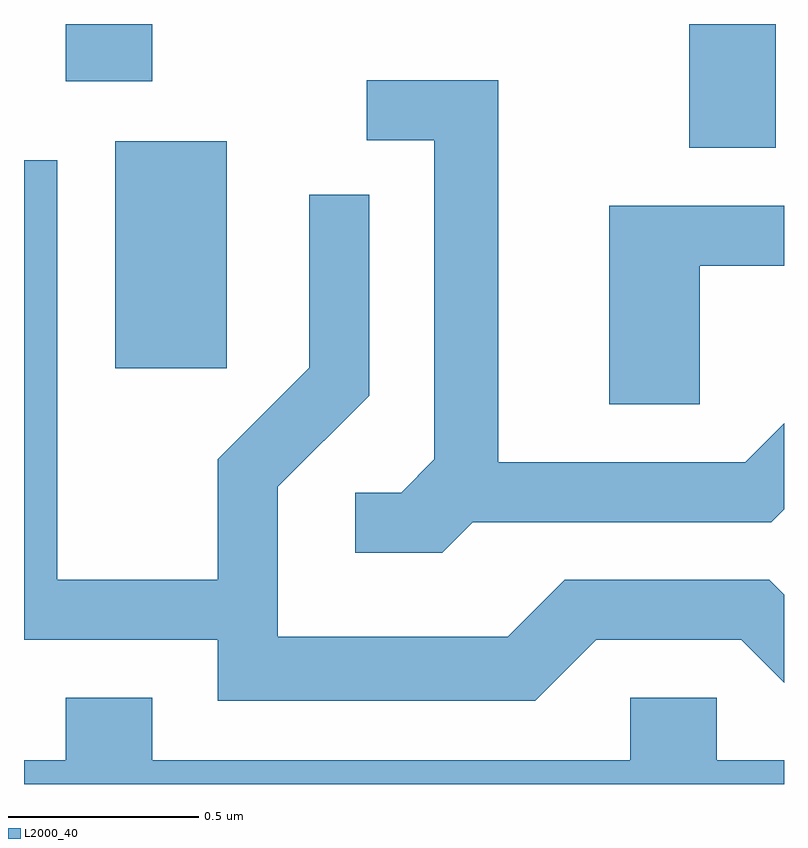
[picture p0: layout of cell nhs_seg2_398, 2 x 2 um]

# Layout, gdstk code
import gdstk
lib = gdstk.Library(unit=1e-6, precision=1e-09)
def R(c, l, rs):  # rectangles x0, y0, x1, y1
    for r in rs: c.add(gdstk.rectangle(r[:2], r[2:], *l))
def P(c, l, *ps):  # polygons
    for p in ps: c.add(gdstk.Polygon(p, *l))
L2000_40 = (2000, 40)

nhs_seg2_398 = lib.new_cell('nhs_seg2_398')
R(nhs_seg2_398, L2000_40, [(187.851,1102.896,188.144,1103.494), (189.361,1103.476,189.589,1103.802), (187.721,1103.651,187.949,1103.802)])
P(nhs_seg2_398, L2000_40, [(188.792,1102.491),(189.577,1102.491),(189.611,1102.525),(189.611,1102.752),(189.509,1102.649),(188.859,1102.649),(188.859,1103.654),(188.513,1103.654),(188.513,1103.496),(188.691,1103.496),(188.691,1102.657),(188.604,1102.569),(188.483,1102.569),(188.483,1102.411),(188.712,1102.411)],
  [(189.117,1102.181),(189.499,1102.181),(189.611,1102.069),(189.611,1102.3),(189.572,1102.339),(189.034,1102.339),(188.884,1102.189),(188.279,1102.189),(188.279,1102.584),(188.519,1102.824),(188.519,1103.353),(188.361,1103.353),(188.361,1102.897),(188.121,1102.657),(188.121,1102.339),(187.699,1102.339),(187.699,1103.444),(187.611,1103.444),(187.611,1102.181),(188.121,1102.181),(188.121,1102.021),(188.957,1102.021)],
  [(189.389,1103.166),(189.611,1103.166),(189.611,1103.324),(189.151,1103.324),(189.151,1102.801),(189.389,1102.801)],
  [(189.611,1101.864),(189.434,1101.864),(189.434,1102.029),(189.206,1102.029),(189.206,1101.864),(187.949,1101.864),(187.949,1102.029),(187.721,1102.029),(187.721,1101.864),(187.611,1101.864),(187.611,1101.802),(189.611,1101.802)])

lib.write_gds('nhs_seg2_398.gds')
